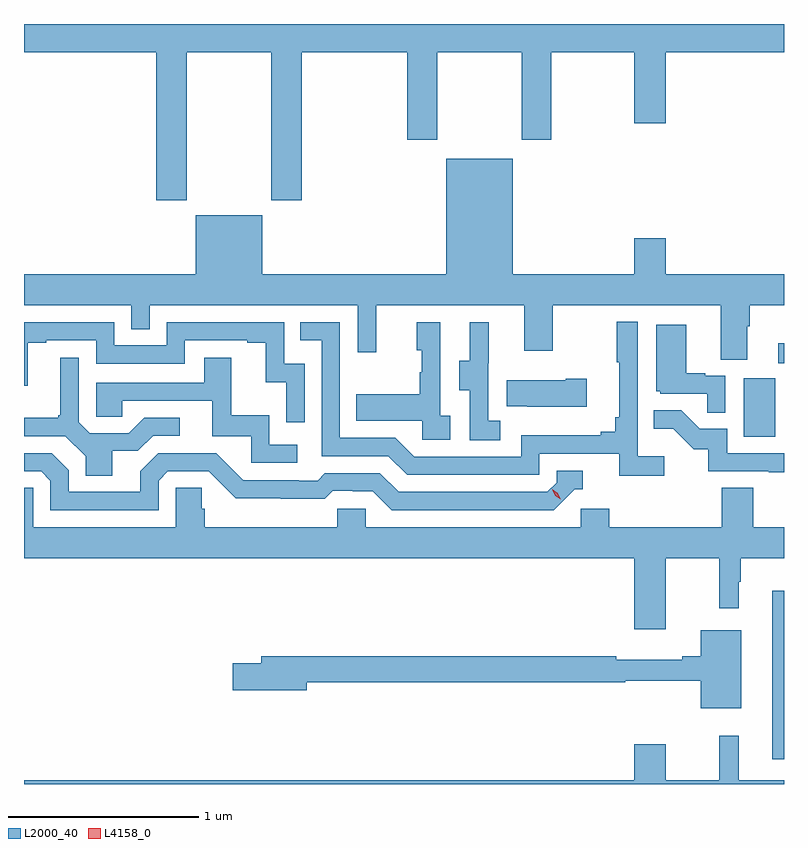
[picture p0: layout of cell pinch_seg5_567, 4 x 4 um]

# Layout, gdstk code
import gdstk
lib = gdstk.Library(unit=1e-6, precision=1e-09)
def R(c, l, rs):  # rectangles x0, y0, x1, y1
    for r in rs: c.add(gdstk.rectangle(r[:2], r[2:], *l))
def P(c, l, *ps):  # polygons
    for p in ps: c.add(gdstk.Polygon(p, *l))
L2000_40 = (2000, 40)
L4158_0 = (4158, 0)

pinch_seg5_567 = lib.new_cell('pinch_seg5_567')
R(pinch_seg5_567, L2000_40, [(1112.786,865.026,1112.847,865.912), (1112.636,866.724,1112.8,867.031), (1112.817,867.111,1112.847,867.217)])
P(pinch_seg5_567, L2000_40, [(1109.703,868.748),(1110.148,868.748),(1110.148,867.969),(1110.308,867.969),(1110.308,868.748),(1110.863,868.748),(1110.863,868.287),(1111.023,868.287),(1111.023,868.748),(1111.468,868.748),(1111.468,868.287),(1111.623,868.287),(1111.623,868.748),(1112.06,868.748),(1112.06,868.374),(1112.224,868.374),(1112.224,868.748),(1112.847,868.748),(1112.847,868.896),(1108.847,868.896),(1108.847,868.748),(1109.543,868.748),(1109.543,867.969),(1109.703,867.969)],
  [(1112.653,867.304),(1112.666,867.304),(1112.666,867.416),(1112.847,867.416),(1112.847,867.58),(1112.224,867.58),(1112.224,867.769),(1112.06,867.769),(1112.06,867.58),(1111.42,867.58),(1111.42,868.186),(1111.07,868.186),(1111.07,867.58),(1110.1,867.58),(1110.1,867.889),(1109.75,867.889),(1109.75,867.58),(1108.847,867.58),(1108.847,867.416),(1109.412,867.416),(1109.412,867.289),(1109.508,867.289),(1109.508,867.416),(1110.603,867.416),(1110.603,867.168),(1110.701,867.168),(1110.701,867.416),(1111.481,867.416),(1111.481,867.177),(1111.629,867.177),(1111.629,867.416),(1112.513,867.416),(1112.513,867.13),(1112.653,867.13)],
  [(1112.218,866.62),(1112.076,866.62),(1112.076,867.328),(1111.968,867.328),(1111.968,867.115),(1111.979,867.115),(1111.979,866.827),(1111.96,866.827),(1111.96,866.75),(1111.883,866.75),(1111.883,866.731),(1111.464,866.731),(1111.464,866.619),(1110.9,866.619),(1110.801,866.718),(1110.51,866.718),(1110.51,867.327),(1110.301,867.327),(1110.301,867.231),(1110.414,867.231),(1110.414,866.622),(1110.764,866.622),(1110.863,866.523),(1111.56,866.523),(1111.56,866.634),(1111.979,866.634),(1111.979,866.518),(1112.218,866.518)],
  [(1110.324,867.108),(1110.216,867.108),(1110.216,867.327),(1109.598,867.327),(1109.598,867.204),(1109.322,867.204),(1109.322,867.327),(1108.847,867.327),(1108.847,866.993),(1108.867,866.993),(1108.867,867.219),(1108.963,867.219),(1108.963,867.231),(1109.226,867.231),(1109.226,867.108),(1109.694,867.108),(1109.694,867.231),(1110.023,867.231),(1110.023,867.219),(1110.119,867.219),(1110.119,867.011),(1110.228,867.011),(1110.228,866.799),(1110.324,866.799)],
  [(1111.354,866.807),(1111.29,866.807),(1111.29,867.111),(1111.292,867.111),(1111.292,867.325),(1111.193,867.325),(1111.193,867.123),(1111.139,867.123),(1111.139,866.968),(1111.194,866.968),(1111.194,866.704),(1111.354,866.704)],
  [(1111.09,866.834),(1111.038,866.834),(1111.038,867.325),(1110.914,867.325),(1110.914,867.18),(1110.94,867.18),(1110.94,867.062),(1110.93,867.062),(1110.93,866.947),(1110.595,866.947),(1110.595,866.807),(1110.942,866.807),(1110.942,866.709),(1111.09,866.709)],
  [(1112.538,867.045),(1112.432,867.045),(1112.432,867.058),(1112.332,867.058),(1112.332,867.313),(1112.174,867.313),(1112.174,866.964),(1112.196,866.964),(1112.196,866.949),(1112.443,866.949),(1112.443,866.851),(1112.538,866.851)],
  [(1110.286,866.682),(1110.138,866.682),(1110.138,866.836),(1109.939,866.836),(1109.939,867.139),(1109.795,867.139),(1109.795,867.009),(1109.226,867.009),(1109.226,866.829),(1109.363,866.829),(1109.363,866.913),(1109.837,866.913),(1109.837,866.727),(1110.042,866.727),(1110.042,866.586),(1110.286,866.586)],
  [(1109.311,866.65),(1109.446,866.65),(1109.526,866.73),(1109.668,866.73),(1109.668,866.823),(1109.48,866.823),(1109.399,866.742),(1109.193,866.742),(1109.136,866.799),(1109.136,867.139),(1109.039,867.139),(1109.039,866.836),(1109.028,866.836),(1109.028,866.824),(1108.847,866.824),(1108.847,866.727),(1109.064,866.727),(1109.171,866.62),(1109.171,866.518),(1109.311,866.518)],
  [(1111.81,867.03),(1111.697,867.03),(1111.697,867.022),(1111.387,867.022),(1111.387,866.885),(1111.495,866.885),(1111.495,866.882),(1111.81,866.882)],
  [(1112.847,866.637),(1112.547,866.637),(1112.547,866.766),(1112.403,866.766),(1112.305,866.864),(1112.161,866.864),(1112.161,866.765),(1112.265,866.765),(1112.372,866.658),(1112.449,866.658),(1112.449,866.541),(1112.767,866.541),(1112.767,866.536),(1112.847,866.536)],
  [(1109.556,866.493),(1109.604,866.541),(1109.82,866.541),(1109.962,866.399),(1110.198,866.399),(1110.198,866.397),(1110.431,866.397),(1110.473,866.439),(1110.576,866.439),(1110.576,866.436),(1110.683,866.436),(1110.782,866.337),(1111.635,866.337),(1111.746,866.448),(1111.789,866.448),(1111.789,866.544),(1111.65,866.544),(1111.65,866.481),(1111.602,866.433),(1110.819,866.433),(1110.72,866.532),(1110.431,866.532),(1110.392,866.493),(1110.293,866.493),(1110.293,866.496),(1110,866.496),(1109.859,866.637),(1109.553,866.637),(1109.459,866.543),(1109.459,866.433),(1109.082,866.433),(1109.082,866.547),(1108.992,866.637),(1108.847,866.637),(1108.847,866.541),(1108.938,866.541),(1108.986,866.493),(1108.986,866.337),(1109.556,866.337)],
  [(1112.224,866.084),(1112.506,866.084),(1112.506,865.821),(1112.608,865.821),(1112.608,865.961),(1112.62,865.961),(1112.62,866.084),(1112.847,866.084),(1112.847,866.248),(1112.684,866.248),(1112.684,866.456),(1112.519,866.456),(1112.519,866.248),(1111.928,866.248),(1111.928,866.346),(1111.776,866.346),(1111.776,866.248),(1110.645,866.248),(1110.645,866.346),(1110.495,866.346),(1110.495,866.248),(1109.798,866.248),(1109.798,866.346),(1109.783,866.346),(1109.783,866.456),(1109.646,866.456),(1109.646,866.248),(1108.896,866.248),(1108.896,866.456),(1108.847,866.456),(1108.847,866.084),(1112.06,866.084),(1112.06,865.71),(1112.224,865.71)],
  [(1112.623,865.705),(1112.408,865.705),(1112.408,865.568),(1112.312,865.568),(1112.312,865.549),(1111.964,865.549),(1111.964,865.568),(1110.095,865.568),(1110.095,865.532),(1109.946,865.532),(1109.946,865.39),(1110.334,865.39),(1110.334,865.432),(1112.012,865.432),(1112.012,865.44),(1112.408,865.44),(1112.408,865.295),(1112.623,865.295)],
  [(1112.847,864.916),(1112.609,864.916),(1112.609,865.15),(1112.506,865.15),(1112.506,864.916),(1112.224,864.916),(1112.224,865.105),(1112.06,865.105),(1112.06,864.916),(1108.847,864.916),(1108.847,864.896),(1112.847,864.896)])
P(pinch_seg5_567, L4158_0, [(1111.672,866.394),(1111.642,866.414),(1111.626,866.447),(1111.626,866.447),(1111.626,866.447),(1111.657,866.427),(1111.672,866.394),(1111.672,866.394)])

lib.write_gds('pinch_seg5_567.gds')
